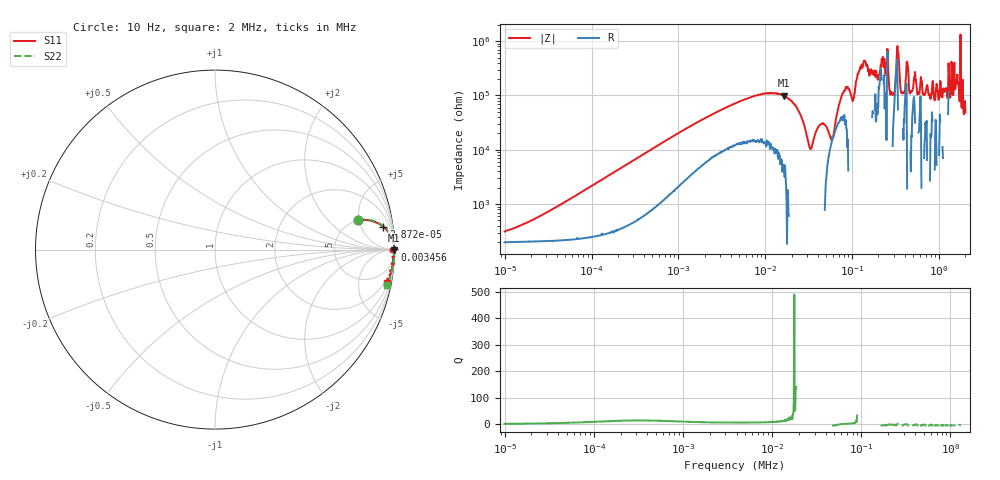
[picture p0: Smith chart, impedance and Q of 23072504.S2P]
!Agilent Technologies,E5061B,MY49204007,A.02.12
!Date: Wed Jul 23 10:54:40 2025
!Data & Calibration Information:
!Freq	S11:SOLT2(ON)	S21:SOLT2(ON)	S12:SOLT2(ON)	S22:SOLT2(ON)
# Hz S dB R 50
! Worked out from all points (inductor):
!   1040 points, 10 Hz to 2 MHz, reference 50 ohm
!   read as one part in series: L = 3.48 H near 28.36 Hz
!   highest Q = 23.5 at 16.19 kHz (marker M1), where L = 975 mH
!   self-resonance near 32.6 kHz
!   S11 on the Smith chart (normalised r, x): 10 Hz: 5.00, +4.84; 28.72 Hz: 5, +13; 3.456 kHz: open; 2 MHz: 1, -10
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10  -1.78 11.5  -11.71 -39.1  -11.71 -39.0  -1.77 11.7
28.724  -0.48 7.7  -16.95 -64.0  -16.95 -63.9  -0.47 7.9
77.209  -0.09 3.3  -24.58 -78.6  -24.58 -78.5  -0.08 3.5
588.818  -0.01 0.5  -41.76 -84.8  -41.77 -84.8  0.00 0.6
3455.779  -0.01 0.0  -55.41 -80.0  -55.44 -79.9  0.01 0.2
4498.482  -0.01 0.0  -57.08 -80.1  -57.11 -80.0  0.01 0.2
16187.86  -0.01 -0.2  -59.93 -87.6  -59.89 -87.1  0.01 0.1
34305.13  -0.16 0.3  -41.31 148.6  -41.32 148.6  -0.02 0.0
43509.69  -0.02 -0.1  -49.50 97.6  -49.42 97.9  0.01 -0.1
58252.28  -0.13 -0.3  -43.53 17.6  -43.55 17.3  -0.02 -0.2
79186.18  -0.01 -0.2  -61.09 -72.3  -61.45 -69.7  0.01 -0.3
102202.2  -0.01 -0.4  -58.25 -167.7  -58.59 -165.8  -0.03 -0.4
134101.3  -0.01 -0.6  -71.80 102.4  -70.85 97.3  -0.00 -0.6
244353.3  -0.02 -1.3  -72.02 72.2  -71.69 66.1  -0.01 -1.2
261946.5  -0.03 -1.5  -66.69 -162.3  -67.63 -160.6  -0.01 -1.3
288336.5  -0.02 -1.5  -60.75 88.9  -61.00 93.5  -0.01 -1.4
331153.5  -0.02 -1.7  -78.22 72.3  -79.10 50.0  -0.01 -1.7
379744  -0.02 -2.0  -60.71 90.5  -60.50 82.3  -0.01 -1.9
421502.1  -0.03 -2.4  -72.26 63.6  -69.62 53.4  -0.01 -2.2
846534.6  -0.10 -4.4  -65.41 97.0  -65.27 107.1  -0.01 -5.1
1574823  -0.12 -8.4  -65.92 147.9  -65.50 154.6  -0.12 -9.2
2000000  -0.22 -11.1  -54.07 -126.3  -53.93 -122.1  -0.20 -11.8
